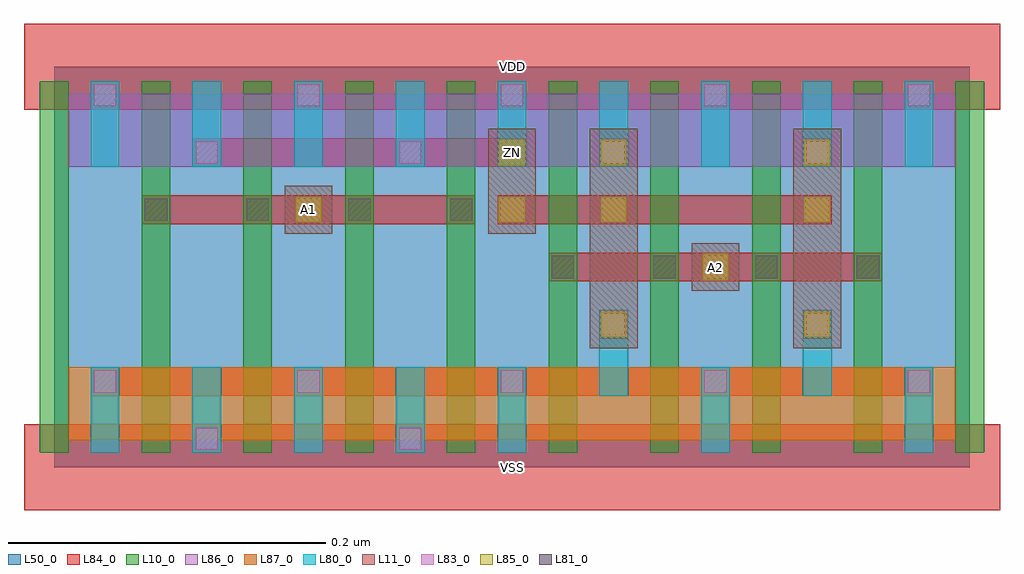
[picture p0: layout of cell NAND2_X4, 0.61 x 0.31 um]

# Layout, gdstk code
import gdstk
lib = gdstk.Library(unit=1e-6, precision=1e-09)
def R(c, l, rs):  # rectangles x0, y0, x1, y1
    for r in rs: c.add(gdstk.rectangle(r[:2], r[2:], *l))
def A(c, l, x, y, w, h, nx, ny, dx, dy):  # array of equal rectangles
    R(c, l, [(x+i*dx, y+j*dy, x+i*dx+w, y+j*dy+h) for i in range(nx) for j in range(ny)])
L10_0 = (10, 0)
L11_0 = (11, 0)
L50_0 = (50, 0)
L80_0 = (80, 0)
L81_0 = (81, 0)
L83_0 = (83, 0)
L84_0 = (84, 0)
L85_0 = (85, 0)
L86_0 = (86, 0)
L87_0 = (87, 0)

nand2_x4 = lib.new_cell('NAND2_X4')
A(nand2_x4, L10_0, -0.009, 0.009, 0.018, 0.234, 10, 1, 0.064, 0)
R(nand2_x4, L11_0, [(0.337,0.075,0.367,0.213), (0.465,0.075,0.495,0.213), (0.401,0.111,0.431,0.141), (0.145,0.147,0.175,0.177), (0.273,0.147,0.303,0.213)])
R(nand2_x4, L50_0, [(0,0,0.576,0.252)])
A(nand2_x4, L80_0, 0.023, 0.009, 0.018, 0.054, 5, 1, 0.064, 0)
A(nand2_x4, L80_0, 0.023, 0.189, 0.018, 0.054, 9, 1, 0.064, 0)
R(nand2_x4, L80_0, [(0.407,0.009,0.425,0.063), (0.535,0.009,0.553,0.063), (0.343,0.045,0.361,0.099), (0.471,0.045,0.489,0.099)])
A(nand2_x4, L81_0, 0.313, 0.119, 0.014, 0.014, 4, 1, 0.064, 0)
A(nand2_x4, L81_0, 0.057, 0.155, 0.014, 0.014, 4, 1, 0.064, 0)
A(nand2_x4, L83_0, 0.025, 0.047, 0.014, 0.014, 5, 2, 0.128, 0.18)
A(nand2_x4, L83_0, 0.089, 0.191, 0.014, 0.014, 4, 1, 0.128, 0)
R(nand2_x4, L83_0, [(0.089,0.011,0.103,0.025), (0.217,0.011,0.231,0.025), (0.345,0.083,0.359,0.097), (0.473,0.083,0.487,0.097)])
R(nand2_x4, L84_0, [(-0.019,-0.027,0.595,0.027), (0.023,0.045,0.553,0.063), (0.343,0.081,0.361,0.099), (0.471,0.081,0.489,0.099), (0.311,0.117,0.521,0.135), (0.055,0.153,0.265,0.171), (0.279,0.153,0.489,0.171), (0.087,0.189,0.297,0.207), (0.343,0.189,0.361,0.207), (0.471,0.189,0.489,0.207), (-0.019,0.225,0.595,0.279)])
R(nand2_x4, L85_0, [(0.344,0.082,0.36,0.098), (0.472,0.082,0.488,0.098), (0.408,0.118,0.424,0.134), (0.152,0.154,0.168,0.17), (0.28,0.154,0.296,0.17), (0.344,0.154,0.36,0.17), (0.472,0.154,0.488,0.17), (0.28,0.19,0.296,0.206), (0.344,0.19,0.36,0.206), (0.472,0.19,0.488,0.206)])
R(nand2_x4, L86_0, [(0.009,0.189,0.567,0.235)])
R(nand2_x4, L87_0, [(0.009,0.017,0.567,0.063)])
nand2_x4.add(gdstk.Label('VDD', (0.288,0.252), layer=88, texttype=0))
nand2_x4.add(gdstk.Label('VSS', (0.288,0), layer=88, texttype=0))
nand2_x4.add(gdstk.Label('ZN', (0.288,0.198), layer=31, texttype=0))
nand2_x4.add(gdstk.Label('A2', (0.416,0.126), layer=31, texttype=0))
nand2_x4.add(gdstk.Label('A1', (0.16,0.162), layer=31, texttype=0))

lib.write_gds('NAND2_X4.gds')
